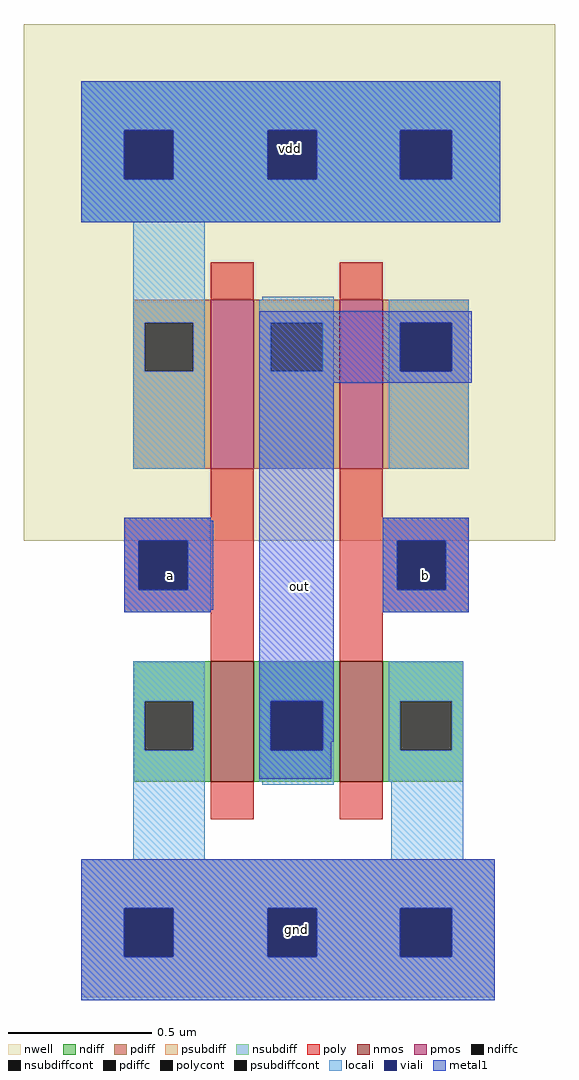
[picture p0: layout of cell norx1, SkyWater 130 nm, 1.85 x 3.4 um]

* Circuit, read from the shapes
.subckt norx1 vdd gnd b a out
XM1 out a gnd gnd sky130_fd_pr__nfet_01v8 w=0.42 l=0.15
XM2 gnd b out gnd sky130_fd_pr__nfet_01v8 w=0.42 l=0.15
XM3 n1 a vdd vdd sky130_fd_pr__pfet_01v8 w=0.59 l=0.15
XM4 out b n1 vdd sky130_fd_pr__pfet_01v8 w=0.59 l=0.15
.ends

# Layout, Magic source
magic
tech sky130A
<< nwell >>
rect -20 135 165 315
<< nmos >>
rect 45 51 60 93
rect 90 51 105 93
<< pmos >>
rect 45 160 60 219
rect 90 160 105 219
<< ndiff >>
rect 18 79 45 93
rect 18 62 22 79
rect 39 62 45 79
rect 18 51 45 62
rect 60 79 90 93
rect 60 62 66 79
rect 84 62 90 79
rect 60 51 90 62
rect 105 79 133 93
rect 105 62 111 79
rect 129 62 133 79
rect 105 51 133 62
<< pdiff >>
rect 18 211 45 219
rect 18 194 22 211
rect 39 194 45 211
rect 18 160 45 194
rect 60 211 90 219
rect 60 194 66 211
rect 84 194 90 211
rect 60 160 90 194
rect 105 211 135 219
rect 105 194 111 211
rect 129 194 135 211
rect 105 160 135 194
<< ndiffc >>
rect 22 62 39 79
rect 66 62 84 79
rect 111 62 129 79
<< pdiffc >>
rect 22 194 39 211
rect 66 194 84 211
rect 111 194 129 211
<< psubdiff >>
rect 0 7 144 24
rect 0 -10 15 7
rect 32 -10 65 7
rect 82 -10 111 7
rect 129 -10 144 7
rect 0 -24 144 -10
<< nsubdiff >>
rect 0 278 146 295
rect 0 261 15 278
rect 32 261 65 278
rect 82 261 111 278
rect 129 261 146 278
rect 0 246 146 261
<< psubdiffcont >>
rect 15 -10 32 7
rect 65 -10 82 7
rect 111 -10 129 7
<< nsubdiffcont >>
rect 15 261 32 278
rect 65 261 82 278
rect 111 261 129 278
<< poly >>
rect 45 219 60 232
rect 90 219 105 232
rect 45 143 60 160
rect 15 135 60 143
rect 15 118 20 135
rect 37 118 60 135
rect 15 110 60 118
rect 45 93 60 110
rect 90 143 105 160
rect 90 135 135 143
rect 90 118 110 135
rect 127 118 135 135
rect 90 110 135 118
rect 90 93 105 110
rect 45 38 60 51
rect 90 38 105 51
<< polycont >>
rect 20 118 37 135
rect 110 118 127 135
<< locali >>
rect 0 278 146 295
rect 0 261 15 278
rect 32 261 65 278
rect 82 261 111 278
rect 129 261 146 278
rect 0 246 146 261
rect 18 211 43 246
rect 63 219 88 220
rect 18 194 22 211
rect 39 194 43 211
rect 18 160 43 194
rect 62 211 88 219
rect 62 194 66 211
rect 84 194 88 211
rect 62 160 88 194
rect 107 211 135 219
rect 107 194 111 211
rect 129 194 135 211
rect 107 160 135 194
rect 15 135 45 143
rect 15 118 20 135
rect 37 118 45 135
rect 15 110 45 118
rect 105 135 135 143
rect 105 118 110 135
rect 127 118 135 135
rect 105 110 135 118
rect 18 79 43 93
rect 18 62 22 79
rect 39 62 43 79
rect 18 24 43 62
rect 62 79 88 93
rect 62 62 66 79
rect 84 62 88 79
rect 62 51 88 62
rect 107 79 133 93
rect 107 62 111 79
rect 129 62 133 79
rect 107 51 133 62
rect 63 50 88 51
rect 108 24 133 51
rect 0 7 144 24
rect 0 -10 15 7
rect 32 -10 65 7
rect 82 -10 111 7
rect 129 -10 144 7
rect 0 -25 144 -10
<< viali >>
rect 15 261 32 278
rect 65 261 82 278
rect 111 261 129 278
rect 111 194 129 211
rect 20 118 37 135
rect 110 118 127 135
rect 66 62 84 79
rect 15 -10 32 7
rect 65 -10 82 7
rect 111 -10 129 7
<< metal1 >>
rect 0 278 146 295
rect 0 261 15 278
rect 32 261 65 278
rect 82 261 111 278
rect 129 261 146 278
rect 0 246 146 261
rect 62 211 136 215
rect 62 194 111 211
rect 129 194 136 211
rect 62 190 136 194
rect 15 142 45 143
rect 15 135 46 142
rect 15 118 20 135
rect 37 118 46 135
rect 15 111 46 118
rect 15 110 45 111
rect 62 79 88 190
rect 105 135 135 143
rect 105 118 110 135
rect 127 118 135 135
rect 105 110 135 118
rect 62 62 66 79
rect 84 65 88 79
rect 84 62 87 65
rect 62 52 87 62
rect 0 7 144 24
rect 0 -10 15 7
rect 32 -10 65 7
rect 82 -10 111 7
rect 129 -10 144 7
rect 0 -25 144 -10
<< labels >>
rlabel nwell 9 256 137 287 1 vdd
port 1 n
rlabel metal1 11 -16 139 15 1 gnd
port 2 n
rlabel metal1 109 114 131 132 1 b
port 3 n
rlabel metal1 20 114 42 132 1 a
port 4 n
rlabel metal1 65 110 87 128 1 out
port 5 n
<< end >>
